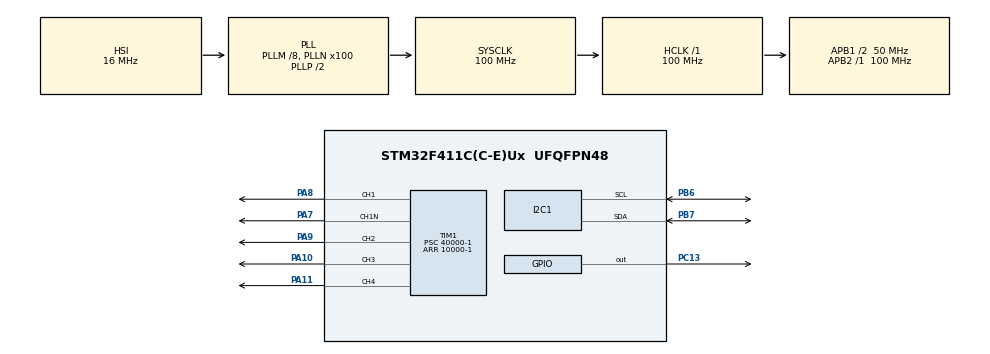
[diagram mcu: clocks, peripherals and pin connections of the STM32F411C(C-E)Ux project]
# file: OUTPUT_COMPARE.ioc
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Mcu.Family=STM32F4
Mcu.Name=STM32F411C(C-E)Ux
Mcu.Package=UFQFPN48
NVIC.PriorityGroup=NVIC_PRIORITYGROUP_4
PA10.Signal=S_TIM1_CH3
PA11.Signal=S_TIM1_CH4
PA13.Mode=Serial_Wire
PA13.Signal=SYS_JTMS-SWDIO
PA14.Mode=Serial_Wire
PA14.Signal=SYS_JTCK-SWCLK
PA7.Mode=Output Compare1 CH1 CH1N
PA7.Signal=TIM1_CH1N
PA8.Signal=S_TIM1_CH1
PA9.Signal=S_TIM1_CH2
PB6.Mode=I2C
PB6.Signal=I2C1_SCL
PB7.Mode=I2C
PB7.Signal=I2C1_SDA
PC13-ANTI_TAMP.GPIO_PuPd=GPIO_PULLUP
PC13-ANTI_TAMP.Signal=GPIO_Output
PH0\ -\ OSC_IN.Mode=HSE-External-Oscillator
PH0\ -\ OSC_IN.Signal=RCC_OSC_IN
PH1\ -\ OSC_OUT.Mode=HSE-External-Oscillator
PH1\ -\ OSC_OUT.Signal=RCC_OSC_OUT
ProjectManager.HeapSize=0x200
ProjectManager.StackSize=0x400
ProjectManager.TargetToolchain=STM32CubeIDE
RCC.48MHZClocksFreq_Value=50000000
RCC.AHBFreq_Value=100000000
RCC.APB1CLKDivider=RCC_HCLK_DIV2
RCC.APB1Freq_Value=50000000
RCC.APB1TimFreq_Value=100000000
RCC.APB2Freq_Value=100000000
RCC.APB2TimFreq_Value=100000000
RCC.CortexFreq_Value=100000000
RCC.HCLKFreq_Value=100000000
RCC.HSE_VALUE=25000000
RCC.HSI_VALUE=16000000
RCC.LSE_VALUE=32768
RCC.PLLM=8
RCC.PLLN=100
RCC.SYSCLKFreq_VALUE=100000000
RCC.SYSCLKSource=RCC_SYSCLKSOURCE_PLLCLK
RCC.VCOOutputFreq_Value=200000000
SH.S_TIM1_CH1.0=TIM1_CH1,Output Compare1 CH1 CH1N
SH.S_TIM1_CH2.0=TIM1_CH2,Output Compare2 CH2
SH.S_TIM1_CH3.0=TIM1_CH3,Output Compare3 CH3
SH.S_TIM1_CH4.0=TIM1_CH4,Output Compare4 CH4
TIM1.Channel-Output\ Compare1\ CH1\ CH1N=TIM_CHANNEL_1
TIM1.Channel-Output\ Compare2\ CH2=TIM_CHANNEL_2
TIM1.Channel-Output\ Compare3\ CH3=TIM_CHANNEL_3
TIM1.Channel-Output\ Compare4\ CH4=TIM_CHANNEL_4
TIM1.OCMode_1=TIM_OCMODE_TOGGLE
TIM1.OCMode_2=TIM_OCMODE_TOGGLE
TIM1.OCMode_3=TIM_OCMODE_TOGGLE
TIM1.OCMode_4=TIM_OCMODE_TOGGLE
TIM1.OCNIdleState_1=TIM_OCNIDLESTATE_RESET
TIM1.OCNPolarity_1=TIM_OCNPOLARITY_HIGH
TIM1.Period=10000-1
TIM1.Prescaler=40000-1
TIM1.Pulse-Output\ Compare1\ CH1\ CH1N=2000-1
TIM1.Pulse-Output\ Compare2\ CH2=4000-1
TIM1.Pulse-Output\ Compare3\ CH3=6000-1
TIM1.Pulse-Output\ Compare4\ CH4=8000-1
VP_TIM1_VS_ClockSourceINT.Mode=Internal
board=custom

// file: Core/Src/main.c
/* USER CODE BEGIN Header */
/**
  ******************************************************************************
  * @file           : main.c
  * @brief          : Main program body
  ******************************************************************************
  * @attention
  *
  * Copyright (c) 2024 STMicroelectronics.
  * All rights reserved.
  *
  * This software is licensed under terms that can be found in the LICENSE file
  * in the root directory of this software component.
  * If no LICENSE file comes with this software, it is provided AS-IS.
  *
  ******************************************************************************
  */
/* USER CODE END Header */
#include "main.h"

I2C_HandleTypeDef hi2c1;

TIM_HandleTypeDef htim1;

/* USER CODE BEGIN PV */
GPIO_PinState pinState;
uint8_t shift;
/* USER CODE END PV */

void SystemClock_Config(void);
static void MX_GPIO_Init(void);
static void MX_TIM1_Init(void);
static void MX_I2C1_Init(void);
/* USER CODE BEGIN PFP */
void lcd_send_cmd (char cmd);
void lcd_send_data (char data);
void lcd_clear (void);
void lcd_put_cur(int row, int col);
void lcd_init (void);
void lcd_send_string (char *str);
/* USER CODE END PFP */

int main(void)
{

  /* MCU Configuration--------------------------------------------------------*/

  /* Reset of all peripherals, Initializes the Flash interface and the Systick. */
  HAL_Init();

  /* Configure the system clock */
  SystemClock_Config();

  /* Initialize all configured peripherals */
  MX_GPIO_Init();
  MX_TIM1_Init();
  MX_I2C1_Init();
  /* USER CODE BEGIN 2 */
  HAL_TIM_OC_Start(&htim1, TIM_CHANNEL_1);
  HAL_TIMEx_OCN_Start(&htim1, TIM_CHANNEL_1);
  HAL_TIM_OC_Start(&htim1, TIM_CHANNEL_2);
  HAL_TIM_OC_Start(&htim1, TIM_CHANNEL_3);
  HAL_TIM_OC_Start(&htim1, TIM_CHANNEL_4);

  shift = 10;

  lcd_init();
  lcd_clear();

  HAL_Delay(20);

  lcd_put_cur(0, 0);
  lcd_send_string("Channel ");
  lcd_put_cur(0, 8);
  lcd_send_data(126); //0x7E or 126 in CGROM. In ASCII = ~

  HAL_Delay(2);

  lcd_put_cur(3, 0);
  lcd_send_string("Output ");
  lcd_put_cur(3, 8);
  lcd_send_data(126); //0x7E or 126 in CGROM (Right arrow). In ASCII = ~

  HAL_Delay(2);

  lcd_put_cur(0, 0+shift);
  lcd_send_data('1');
  HAL_Delay(4);

  lcd_put_cur(1, 0+shift);
  lcd_send_data('N');
  HAL_Delay(4);

  lcd_put_cur(0, 2+shift);
  lcd_send_data('1');
  HAL_Delay(4);

  lcd_put_cur(0, 4+shift);
  lcd_send_data('2');
  HAL_Delay(4);

  lcd_put_cur(0, 6+shift);
  lcd_send_data('3');
  HAL_Delay(4);

  lcd_put_cur(0, 8+shift);
  lcd_send_data('4');
  HAL_Delay(20);

  /* USER CODE END 2 */

  /* Infinite loop */
  /* USER CODE BEGIN WHILE */
  while (1)
  {
	  pinState = HAL_GPIO_ReadPin(GPIOA, GPIO_PIN_7); // ; = alt+059
	  if (pinState == GPIO_PIN_SET) {
		  lcd_put_cur(3, 0+shift);
		  lcd_send_data('1'); // All 5x8 pixels on
	  }
	  else {
		  lcd_put_cur(3, 0+shift);
		  lcd_send_data('0'); // All 5x8 pixels off (space)
	  }

	  HAL_Delay(2);

	  pinState = HAL_GPIO_ReadPin(GPIOA, GPIO_PIN_8);
	  if (pinState == GPIO_PIN_SET) {
		  lcd_put_cur(3, 2+shift);
		  lcd_send_data('1');
	  }
	  else {
		  lcd_put_cur(3, 2+shift);
		  lcd_send_data('0');
	  }

	  HAL_Delay(2);

	  pinState = HAL_GPIO_ReadPin(GPIOA, GPIO_PIN_9);
	  if (pinState == GPIO_PIN_SET) {
		  lcd_put_cur(3, 4+shift);
		  lcd_send_data('1');
	  }
	  else {
		  lcd_put_cur(3, 4+shift);
		  lcd_send_data('0');
	  }

	  HAL_Delay(2);

	  pinState = HAL_GPIO_ReadPin(GPIOA, GPIO_PIN_10);
	  if (pinState == GPIO_PIN_SET) {
		  lcd_put_cur(3, 6+shift);
		  lcd_send_data('1');
	  }
	  else {
		  lcd_put_cur(3, 6+shift);
		  lcd_send_data('0');
	  }

	  HAL_Delay(2);

	  pinState = HAL_GPIO_ReadPin(GPIOA, GPIO_PIN_11);
	  if (pinState == GPIO_PIN_SET) {
		  lcd_put_cur(3, 8+shift);
		  lcd_send_data('1');
	  }
	  else {
		  lcd_put_cur(3, 8+shift);
		  lcd_send_data('0');
	  }

	  HAL_Delay(2);

    /* USER CODE END WHILE */

  }
}

void SystemClock_Config(void)
{
  RCC_OscInitTypeDef RCC_OscInitStruct = {0};
  RCC_ClkInitTypeDef RCC_ClkInitStruct = {0};

  /** Configure the main internal regulator output voltage
  */
  __HAL_RCC_PWR_CLK_ENABLE();
  __HAL_PWR_VOLTAGESCALING_CONFIG(PWR_REGULATOR_VOLTAGE_SCALE1);

  /** Initializes the RCC Oscillators according to the specified parameters
  * in the RCC_OscInitTypeDef structure.
  */
  RCC_OscInitStruct.OscillatorType = RCC_OSCILLATORTYPE_HSI;
  RCC_OscInitStruct.HSIState = RCC_HSI_ON;
  RCC_OscInitStruct.HSICalibrationValue = RCC_HSICALIBRATION_DEFAULT;
  RCC_OscInitStruct.PLL.PLLState = RCC_PLL_ON;
  RCC_OscInitStruct.PLL.PLLSource = RCC_PLLSOURCE_HSI;
  RCC_OscInitStruct.PLL.PLLM = 8;
  RCC_OscInitStruct.PLL.PLLN = 100;
  RCC_OscInitStruct.PLL.PLLP = RCC_PLLP_DIV2;
  RCC_OscInitStruct.PLL.PLLQ = 4;
  if (HAL_RCC_OscConfig(&RCC_OscInitStruct) != HAL_OK)
  {
    Error_Handler();
  }

  /** Initializes the CPU, AHB and APB buses clocks
  */
  RCC_ClkInitStruct.ClockType = RCC_CLOCKTYPE_HCLK|RCC_CLOCKTYPE_SYSCLK
                              |RCC_CLOCKTYPE_PCLK1|RCC_CLOCKTYPE_PCLK2;
  RCC_ClkInitStruct.SYSCLKSource = RCC_SYSCLKSOURCE_PLLCLK;
  RCC_ClkInitStruct.AHBCLKDivider = RCC_SYSCLK_DIV1;
  RCC_ClkInitStruct.APB1CLKDivider = RCC_HCLK_DIV2;
  RCC_ClkInitStruct.APB2CLKDivider = RCC_HCLK_DIV1;

  if (HAL_RCC_ClockConfig(&RCC_ClkInitStruct, FLASH_LATENCY_3) != HAL_OK)
  {
    Error_Handler();
  }
}

static void MX_I2C1_Init(void)
{

  hi2c1.Instance = I2C1;
  hi2c1.Init.ClockSpeed = 100000;
  hi2c1.Init.DutyCycle = I2C_DUTYCYCLE_2;
  hi2c1.Init.OwnAddress1 = 0;
  hi2c1.Init.AddressingMode = I2C_ADDRESSINGMODE_7BIT;
  hi2c1.Init.DualAddressMode = I2C_DUALADDRESS_DISABLE;
  hi2c1.Init.OwnAddress2 = 0;
  hi2c1.Init.GeneralCallMode = I2C_GENERALCALL_DISABLE;
  hi2c1.Init.NoStretchMode = I2C_NOSTRETCH_DISABLE;
  if (HAL_I2C_Init(&hi2c1) != HAL_OK)
  {
    Error_Handler();
  }

}

static void MX_TIM1_Init(void)
{

  TIM_ClockConfigTypeDef sClockSourceConfig = {0};
  TIM_MasterConfigTypeDef sMasterConfig = {0};
  TIM_OC_InitTypeDef sConfigOC = {0};
  TIM_BreakDeadTimeConfigTypeDef sBreakDeadTimeConfig = {0};

  htim1.Instance = TIM1;
  htim1.Init.Prescaler = 40000-1;
  htim1.Init.CounterMode = TIM_COUNTERMODE_UP;
  htim1.Init.Period = 10000-1;
  htim1.Init.ClockDivision = TIM_CLOCKDIVISION_DIV1;
  htim1.Init.RepetitionCounter = 0;
  htim1.Init.AutoReloadPreload = TIM_AUTORELOAD_PRELOAD_DISABLE;
  if (HAL_TIM_Base_Init(&htim1) != HAL_OK)
  {
    Error_Handler();
  }
  sClockSourceConfig.ClockSource = TIM_CLOCKSOURCE_INTERNAL;
  if (HAL_TIM_ConfigClockSource(&htim1, &sClockSourceConfig) != HAL_OK)
  {
    Error_Handler();
  }
  if (HAL_TIM_OC_Init(&htim1) != HAL_OK)
  {
    Error_Handler();
  }
  sMasterConfig.MasterOutputTrigger = TIM_TRGO_RESET;
  sMasterConfig.MasterSlaveMode = TIM_MASTERSLAVEMODE_DISABLE;
  if (HAL_TIMEx_MasterConfigSynchronization(&htim1, &sMasterConfig) != HAL_OK)
  {
    Error_Handler();
  }
  sConfigOC.OCMode = TIM_OCMODE_TOGGLE;
  sConfigOC.Pulse = 2000-1;
  sConfigOC.OCPolarity = TIM_OCPOLARITY_HIGH;
  sConfigOC.OCNPolarity = TIM_OCNPOLARITY_HIGH;
  sConfigOC.OCFastMode = TIM_OCFAST_DISABLE;
  sConfigOC.OCIdleState = TIM_OCIDLESTATE_RESET;
  sConfigOC.OCNIdleState = TIM_OCNIDLESTATE_RESET;
  if (HAL_TIM_OC_ConfigChannel(&htim1, &sConfigOC, TIM_CHANNEL_1) != HAL_OK)
  {
    Error_Handler();
  }
  sConfigOC.Pulse = 4000-1;
  if (HAL_TIM_OC_ConfigChannel(&htim1, &sConfigOC, TIM_CHANNEL_2) != HAL_OK)
  {
    Error_Handler();
  }
  sConfigOC.Pulse = 6000-1;
  if (HAL_TIM_OC_ConfigChannel(&htim1, &sConfigOC, TIM_CHANNEL_3) != HAL_OK)
  {
    Error_Handler();
  }
  sConfigOC.Pulse = 8000-1;
  if (HAL_TIM_OC_ConfigChannel(&htim1, &sConfigOC, TIM_CHANNEL_4) != HAL_OK)
  {
    Error_Handler();
  }
  sBreakDeadTimeConfig.OffStateRunMode = TIM_OSSR_DISABLE;
  sBreakDeadTimeConfig.OffStateIDLEMode = TIM_OSSI_DISABLE;
  sBreakDeadTimeConfig.LockLevel = TIM_LOCKLEVEL_OFF;
  sBreakDeadTimeConfig.DeadTime = 0;
  sBreakDeadTimeConfig.BreakState = TIM_BREAK_DISABLE;
  sBreakDeadTimeConfig.BreakPolarity = TIM_BREAKPOLARITY_HIGH;
  sBreakDeadTimeConfig.AutomaticOutput = TIM_AUTOMATICOUTPUT_DISABLE;
  if (HAL_TIMEx_ConfigBreakDeadTime(&htim1, &sBreakDeadTimeConfig) != HAL_OK)
  {
    Error_Handler();
  }
  HAL_TIM_MspPostInit(&htim1);

}

static void MX_GPIO_Init(void)
{
  GPIO_InitTypeDef GPIO_InitStruct = {0};

  /* GPIO Ports Clock Enable */
  __HAL_RCC_GPIOC_CLK_ENABLE();
  __HAL_RCC_GPIOH_CLK_ENABLE();
  __HAL_RCC_GPIOA_CLK_ENABLE();
  __HAL_RCC_GPIOB_CLK_ENABLE();

  /*Configure GPIO pin Output Level */
  HAL_GPIO_WritePin(GPIOC, GPIO_PIN_13, GPIO_PIN_RESET);

  /*Configure GPIO pin : PC13 */
  GPIO_InitStruct.Pin = GPIO_PIN_13;
  GPIO_InitStruct.Mode = GPIO_MODE_OUTPUT_PP;
  GPIO_InitStruct.Pull = GPIO_PULLUP;
  GPIO_InitStruct.Speed = GPIO_SPEED_FREQ_LOW;
  HAL_GPIO_Init(GPIOC, &GPIO_InitStruct);

}

/* USER CODE BEGIN 4 */
void HAL_GPIO_EXTI_Callback(uint16_t GPIO_Pin)
{
	if (1)
	{

	}
	else
				__NOP();
}
/* USER CODE END 4 */

void Error_Handler(void)
{
  __disable_irq();
  while (1)
  {
  }
}
